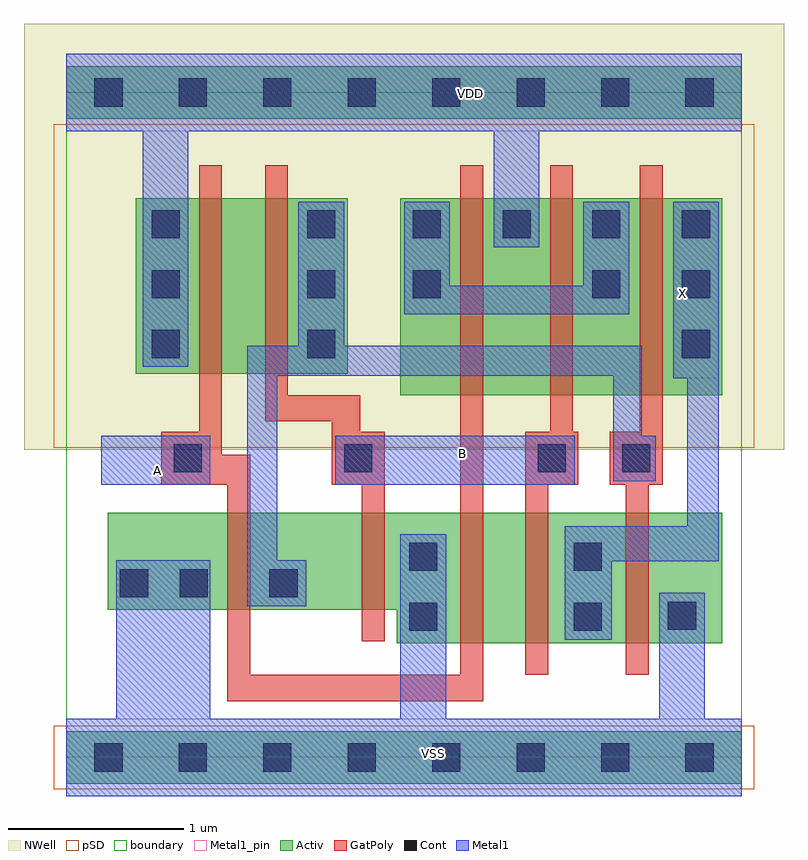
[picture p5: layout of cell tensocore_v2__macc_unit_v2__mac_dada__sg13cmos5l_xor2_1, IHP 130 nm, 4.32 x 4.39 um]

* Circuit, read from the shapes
.subckt tensocore_v2__macc_unit_v2__mac_dada__sg13cmos5l_xor2_1 A B VDD VSS X
XM1 n1 A VSS VSS sg13_lv_nmos w=0.55u l=0.13u
XM2 VSS B n1 VSS sg13_lv_nmos w=0.55u l=0.13u
XM3 n2 A VSS VSS sg13_lv_nmos w=0.74u l=0.13u
XM4 X B n2 VSS sg13_lv_nmos w=0.74u l=0.13u
XM5 VSS n1 X VSS sg13_lv_nmos w=0.74u l=0.13u
XM6 n3 A VDD VDD sg13_lv_pmos w=1u l=0.13u
XM7 n1 B n3 VDD sg13_lv_pmos w=1u l=0.13u
XM8 VDD A n4 VDD sg13_lv_pmos w=1.12u l=0.13u
XM9 n4 B VDD VDD sg13_lv_pmos w=1.12u l=0.13u
XM10 X n1 n4 VDD sg13_lv_pmos w=1.12u l=0.13u
.ends

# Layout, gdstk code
import gdstk
lib = gdstk.Library(unit=1e-6, precision=1e-09)
def R(c, l, rs):  # rectangles x0, y0, x1, y1
    for r in rs: c.add(gdstk.rectangle(r[:2], r[2:], *l))
def A(c, l, x, y, w, h, nx, ny, dx, dy):  # array of equal rectangles
    R(c, l, [(x+i*dx, y+j*dy, x+i*dx+w, y+j*dy+h) for i in range(nx) for j in range(ny)])
def P(c, l, *ps):  # polygons
    for p in ps: c.add(gdstk.Polygon(p, *l))
Activ = (1, 0)
GatPoly = (5, 0)
Cont = (6, 0)
Metal1 = (8, 0)
Metal1_pin = (8, 2)
pSD = (14, 0)
NWell = (31, 0)
boundary = (189, 4)

tensocore_v2__macc_unit_ = lib.new_cell('tensocore_v2__macc_unit_v2__mac_dada__sg13cmos5l_xor2_1')
R(tensocore_v2__macc_unit_, Activ, [(0,-0.15,3.84,0.15), (1.9,2.06,3.73,3.18), (0.395,2.18,1.6,3.18), (0,3.63,3.84,3.93)])
P(tensocore_v2__macc_unit_, Activ, [(1.88,0.65),(1.88,0.84),(0.235,0.84),(0.235,1.39),(3.73,1.39),(3.73,0.65)])
P(tensocore_v2__macc_unit_, GatPoly, [(0.915,0.32),(0.915,1.55),(0.54,1.55),(0.54,1.85),(0.755,1.85),(0.755,3.365),(0.885,3.365),(0.885,1.72),(1.045,1.72),(1.045,0.47),(2.24,0.47),(2.24,3.365),(2.37,3.365),(2.37,0.32)],
  [(3.18,0.47),(3.18,1.55),(3.09,1.55),(3.09,1.85),(3.26,1.85),(3.26,3.365),(3.39,3.365),(3.39,1.55),(3.31,1.55),(3.31,0.47)],
  [(2.61,0.47),(2.61,1.85),(2.75,1.85),(2.75,3.365),(2.88,3.365),(2.88,1.85),(2.91,1.85),(2.91,1.55),(2.74,1.55),(2.74,0.47)],
  [(1.68,0.66),(1.68,1.55),(1.51,1.55),(1.51,1.91),(1.13,1.91),(1.13,3.365),(1.26,3.365),(1.26,2.06),(1.67,2.06),(1.67,1.85),(1.81,1.85),(1.81,0.66)])
A(tensocore_v2__macc_unit_, Cont, 0.16, -0.08, 0.16, 0.16, 8, 2, 0.48, 3.78)
A(tensocore_v2__macc_unit_, Cont, 0.485, 2.27, 0.16, 0.16, 1, 3, 0, 0.34)
A(tensocore_v2__macc_unit_, Cont, 1.37, 2.27, 0.16, 0.16, 1, 3, 0, 0.34)
A(tensocore_v2__macc_unit_, Cont, 1.97, 2.95, 0.16, 0.16, 4, 1, 0.51, 0)
R(tensocore_v2__macc_unit_, Cont, [(1.95,0.72,2.11,0.88), (2.885,0.72,3.045,0.88), (3.42,0.725,3.58,0.885), (0.305,0.91,0.465,1.07), (0.645,0.91,0.805,1.07), (1.155,0.91,1.315,1.07), (1.95,1.06,2.11,1.22), (2.885,1.06,3.045,1.22), (0.61,1.62,0.77,1.78), (1.58,1.62,1.74,1.78), (2.68,1.62,2.84,1.78), (3.16,1.62,3.32,1.78), (3.5,2.27,3.66,2.43), (1.97,2.61,2.13,2.77), (2.99,2.61,3.15,2.77), (3.5,2.61,3.66,2.77)])
R(tensocore_v2__macc_unit_, Metal1, [(0.2,1.55,0.82,1.83), (1.53,1.55,2.89,1.83)])
P(tensocore_v2__macc_unit_, Metal1, [(1.03,0.86),(1.03,2.34),(1.32,2.34),(1.32,3.16),(1.58,3.16),(1.58,2.34),(3.27,2.34),(3.27,1.83),(3.35,1.83),(3.35,1.57),(3.11,1.57),(3.11,2.17),(1.2,2.17),(1.2,1.12),(1.365,1.12),(1.365,0.86)],
  [(2.835,0.67),(2.835,1.315),(3.53,1.315),(3.53,2.155),(3.45,2.155),(3.45,3.16),(3.71,3.16),(3.71,1.115),(3.1,1.115),(3.1,0.67)],
  [(0,-0.22),(0,0.22),(0.285,0.22),(0.285,1.12),(0.82,1.12),(0.82,0.22),(1.9,0.22),(1.9,1.27),(2.16,1.27),(2.16,0.22),(3.37,0.22),(3.37,0.935),(3.63,0.935),(3.63,0.22),(3.84,0.22),(3.84,-0.22)],
  [(0.435,2.22),(0.435,3.56),(0,3.56),(0,4),(3.84,4),(3.84,3.56),(2.69,3.56),(2.69,2.9),(2.43,2.9),(2.43,3.56),(0.695,3.56),(0.695,2.22)],
  [(1.92,2.52),(1.92,3.16),(2.18,3.16),(2.18,2.68),(2.94,2.68),(2.94,3.16),(3.2,3.16),(3.2,2.52)])
R(tensocore_v2__macc_unit_, Metal1_pin, [(0,-0.22,3.84,0.22), (0.2,1.55,0.82,1.83), (1.53,1.55,2.89,1.83), (3.45,2.155,3.71,3.16), (0,3.56,3.84,4)])
R(tensocore_v2__macc_unit_, pSD, [(-0.07,-0.18,3.91,0.18), (-0.07,1.76,3.91,3.6)])
R(tensocore_v2__macc_unit_, NWell, [(-0.24,1.75,4.08,4.17)])
R(tensocore_v2__macc_unit_, boundary, [(0,0,3.84,3.78)])
tensocore_v2__macc_unit_.add(gdstk.Label('VSS', (2.09,0.02), layer=8, texttype=25))
tensocore_v2__macc_unit_.add(gdstk.Label('A', (0.52,1.63), layer=8, texttype=25))
tensocore_v2__macc_unit_.add(gdstk.Label('B', (2.255,1.725), layer=8, texttype=25))
tensocore_v2__macc_unit_.add(gdstk.Label('VDD', (2.3,3.775), layer=8, texttype=25))
tensocore_v2__macc_unit_.add(gdstk.Label('X', (3.505,2.635), layer=8, texttype=25))

lib.write_gds('tensocore_v2__macc_unit_v2__mac_dada__sg13cmos5l_xor2_1.gds')
